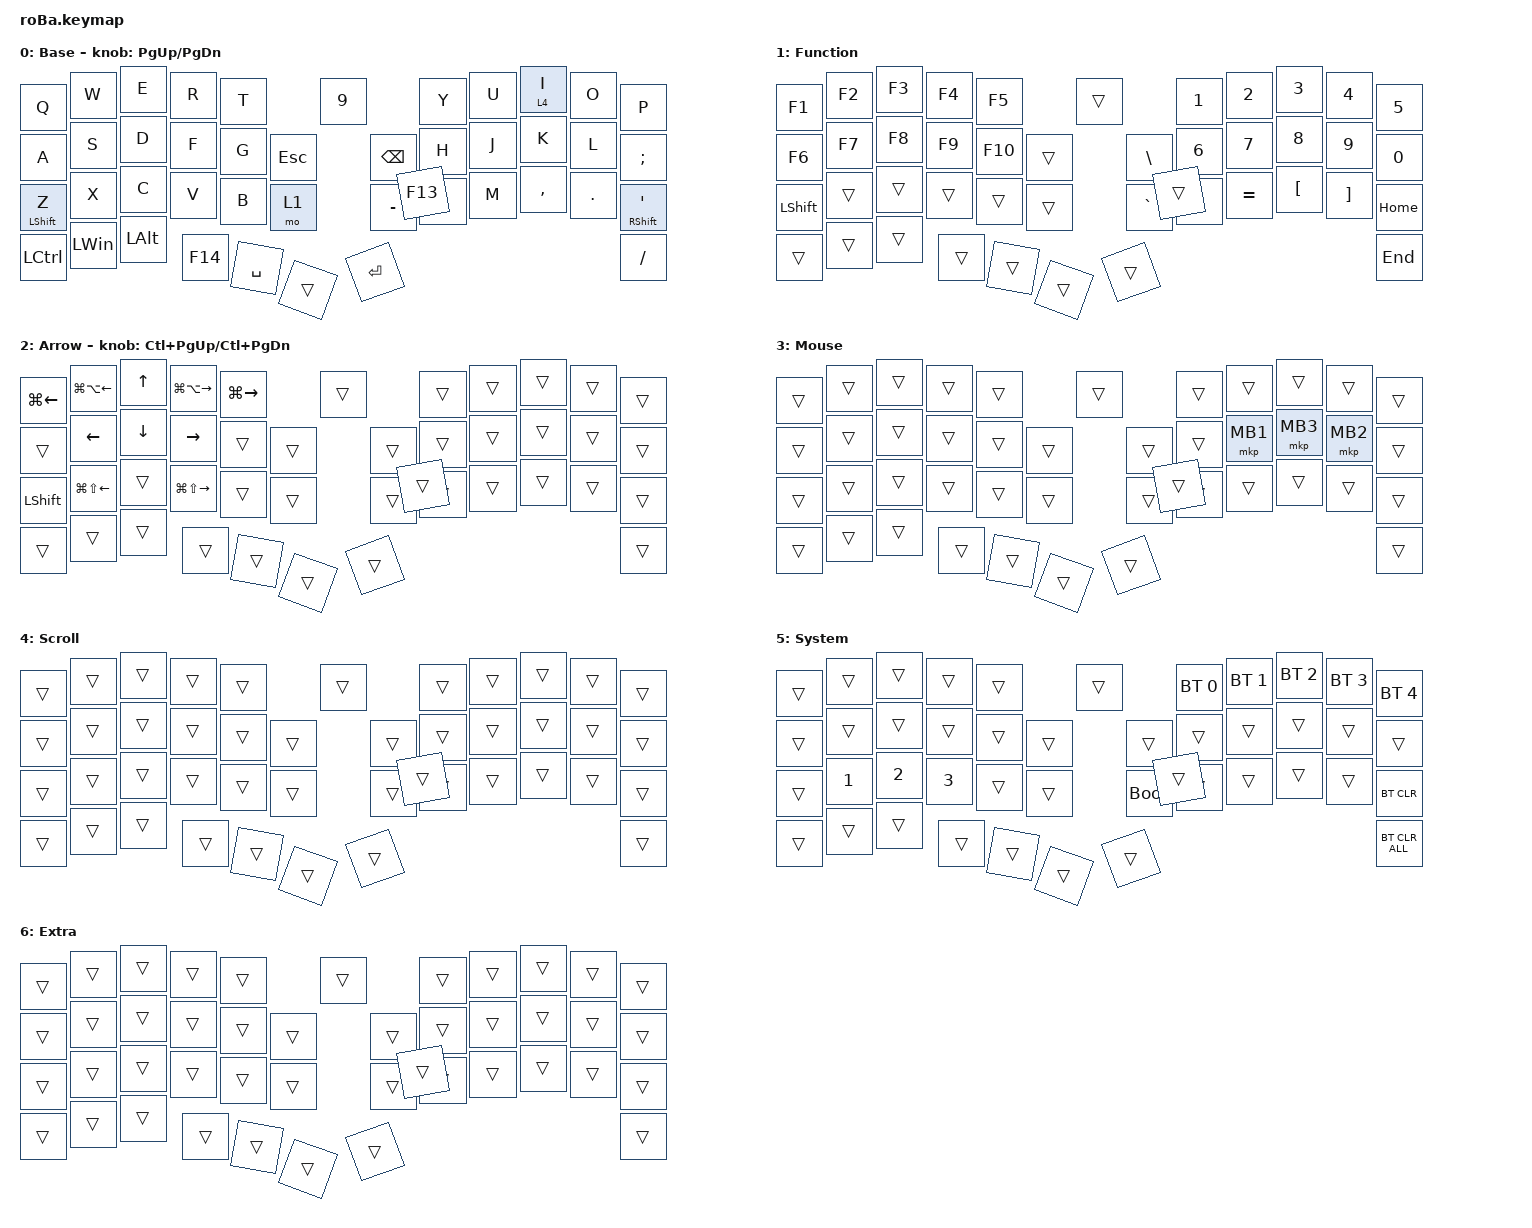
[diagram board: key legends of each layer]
#include <behaviors.dtsi>
#include <dt-bindings/zmk/bt.h>
#include <dt-bindings/zmk/keys.h>
#include <dt-bindings/zmk/pointing.h>

&mt {
    flavor = "balanced";
    tapping-term-ms = <200>;
    quick-tap-ms = <175>;
};

&lt {
    tapping-term-ms = <200>;
};

&trackball {
    automouse-layer = <3>;
    scroll-layers = <4>;

    // arrows {
    //     layers = <3>;
    //     bindings =
    //         <&kp RIGHT_ARROW>,
    //         <&kp LEFT_ARROW>,
    //         <&kp UP_ARROW>,
    //         <&kp DOWN_ARROW>;
    //     tick = <10>;
    //     wait-ms = <5>;
    //     tap-ms = <5>;
    // };
};

/ {
    combos {
        compatible = "zmk,combos";

        tab {
            bindings = <&kp TAB>;
            key-positions = <11 12>;
        };

        shift_tab {
            bindings = <&kp LS(TAB)>;
            key-positions = <12 13>;
        };

        arrow_mo {
            bindings = <&mo 2>;
            key-positions = <18 19>;
        };

        bt_sel_0 {
            bindings = <&bt BT_SEL 0>;
            key-positions = <40 41 0>;
            layers = <0>;
            timeout-ms = <100>;
        };

        bt_sel_1 {
            bindings = <&bt BT_SEL 1>;
            key-positions = <40 41 1>;
            layers = <0>;
            timeout-ms = <100>;
        };

        bt_sel_2 {
            bindings = <&bt BT_SEL 2>;
            key-positions = <40 41 2>;
            layers = <0>;
            timeout-ms = <100>;
        };

        bt_sel_3 {
            bindings = <&bt BT_SEL 3>;
            key-positions = <40 41 3>;
            layers = <0>;
            timeout-ms = <100>;
        };

        bt_sel_4 {
            bindings = <&bt BT_SEL 4>;
            key-positions = <40 41 4>;
            layers = <0>;
            timeout-ms = <100>;
        };
    };

    keymap {
        compatible = "zmk,keymap";

        default_layer {
            display-name = "Base";
            bindings = <
&kp Q             &kp W         &kp E         &kp R                        &kp T                                            &kp Y        &kp U  &lt 4 I    &kp O    &kp P
&kp A             &kp S         &kp D         &kp F                        &kp G          &kp ESC            &kp BACKSPACE  &kp H        &kp J  &kp K      &kp L    &kp SEMICOLON
&mt LEFT_SHIFT Z  &kp X         &kp C         &kp V                        &kp B          &mo 1              &kp MINUS      &kp N        &kp M  &kp COMMA  &kp DOT  &mt RIGHT_SHIFT SQT
&kp LCTRL         &kp LEFT_WIN  &kp LEFT_ALT  &kp F14                      &kp SPACE      &trans             &kp ENTER      &kp F13                                 &kp SLASH
&kp N9
            >;

            sensor-bindings = <&inc_dec_kp PG_UP PAGE_DOWN>;
        };

        FUNCTION {
            display-name = "Function";
            bindings = <
&kp F1  &kp F2  &kp F3  &kp F4  &kp F5                            &kp N1     &kp N2     &kp N3            &kp N4             &kp N5
&kp F6  &kp F7  &kp F8  &kp F9  &kp F10  &trans        &kp BACKSLASH  &kp N6     &kp N7     &kp N8            &kp N9             &kp N0
&kp LEFT_SHIFT  &trans  &trans  &trans  &trans   &trans      &kp GRAVE    &kp MINUS  &kp EQUAL  &kp LEFT_BRACKET  &kp RIGHT_BRACKET  &kp HOME
&trans  &trans  &trans  &trans  &trans   &trans      &trans       &trans                                                &kp END
&trans
            >;
        };

        ARROW {
            display-name = "Arrow";
            bindings = <
&kp LG(LEFT_ARROW)  &kp LG(LA(LEFT_ARROW))  &kp UP_ARROW    &kp LG(LA(RIGHT_ARROW))  &kp LG(RIGHT_ARROW)          &trans  &trans  &trans  &trans  &trans
&trans          &kp LEFT_ARROW          &kp DOWN_ARROW  &kp RIGHT_ARROW          &trans   &trans      &trans  &trans  &trans  &trans  &trans  &trans
&kp LEFT_SHIFT  &kp LG(LS(LEFT_ARROW))  &trans          &kp LG(LS(RIGHT_ARROW))  &trans   &trans      &trans  &trans  &trans  &trans  &trans  &trans
&trans          &trans                  &trans          &trans                   &trans   &trans      &trans  &trans                          &trans
&trans
            >;

            sensor-bindings = <&inc_dec_kp LC(PAGE_UP) LC(PAGE_DOWN)>;
        };

        MOUSE {
            display-name = "Mouse";
            bindings = <
&trans  &trans  &trans  &trans  &trans                      &trans  &trans    &trans    &trans    &trans
&trans  &trans  &trans  &trans  &trans  &trans      &trans  &trans  &mkp MB1  &mkp MB3  &mkp MB2  &trans
&trans  &trans  &trans  &trans  &trans  &trans      &trans  &trans  &trans    &trans    &trans    &trans
&trans  &trans  &trans  &trans  &trans  &trans      &trans  &trans                                &trans
&trans
            >;
        };

        SCROLL {
            display-name = "Scroll";
            bindings = <
&trans  &trans  &trans  &trans  &trans                      &trans  &trans  &trans  &trans  &trans
&trans  &trans  &trans  &trans  &trans  &trans      &trans  &trans  &trans  &trans  &trans  &trans
&trans  &trans  &trans  &trans  &trans  &trans      &trans  &trans  &trans  &trans  &trans  &trans
&trans  &trans  &trans  &trans  &trans  &trans      &trans  &trans                          &trans
&trans
            >;
        };

        layer_6 {
            display-name = "System";
            bindings = <
&trans  &trans        &trans        &trans        &trans                           &bt BT_SEL 0  &bt BT_SEL 1  &bt BT_SEL 2  &bt BT_SEL 3  &bt BT_SEL 4
&trans  &trans        &trans        &trans        &trans  &trans      &trans       &trans        &trans        &trans        &trans        &trans
&trans  &kp NUMBER_1  &kp NUMBER_2  &kp NUMBER_3  &trans  &trans      &bootloader  &trans        &trans        &trans        &trans        &bt BT_CLR
&trans  &trans        &trans        &trans        &trans  &trans      &trans       &trans                                                  &bt BT_CLR_ALL
&trans
            >;
        };

        extra {
            display-name = "Extra";
            bindings = <
&trans  &trans  &trans  &trans  &trans                      &trans  &trans  &trans  &trans  &trans
&trans  &trans  &trans  &trans  &trans  &trans      &trans  &trans  &trans  &trans  &trans  &trans
&trans  &trans  &trans  &trans  &trans  &trans      &trans  &trans  &trans  &trans  &trans  &trans
&trans  &trans  &trans  &trans  &trans  &trans      &trans  &trans                          &trans
&trans
            >;
        };
    };
};
